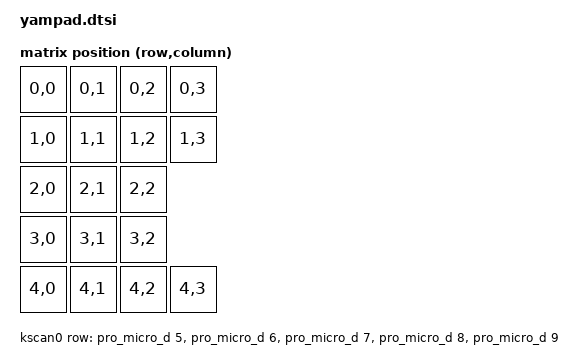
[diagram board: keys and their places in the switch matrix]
/*
 * Copyright (c) 2020 The ZMK Contributors
 *
 * SPDX-License-Identifier: MIT
 */

#include <dt-bindings/zmk/matrix_transform.h>

/ {
	chosen {
		zmk,kscan = &kscan0;
		zmk,matrix_transform = &default_transform;
	};

	default_transform: keymap_transform_0 {
		compatible = "zmk,matrix-transform";
		columns = <4>;
		rows = <5>;

		map = <
RC(0,0) RC(0,1) RC(0,2) RC(0,3)
RC(1,0) RC(1,1) RC(1,2) RC(1,3)
RC(2,0) RC(2,1) RC(2,2)
RC(3,0) RC(3,1) RC(3,2)
RC(4,0) RC(4,1) RC(4,2) RC(4,3)
		>;
	};

	kscan0: kscan {
		compatible = "zmk,kscan-gpio-matrix";
		label = "KSCAN";

		diode-direction = "col2row";
		row-gpios
			= <&pro_micro_d 5 (GPIO_ACTIVE_HIGH | GPIO_PULL_DOWN)>
			, <&pro_micro_d 6 (GPIO_ACTIVE_HIGH | GPIO_PULL_DOWN)>
			, <&pro_micro_d 7 (GPIO_ACTIVE_HIGH | GPIO_PULL_DOWN)>
			, <&pro_micro_d 8 (GPIO_ACTIVE_HIGH | GPIO_PULL_DOWN)>
			, <&pro_micro_d 9 (GPIO_ACTIVE_HIGH | GPIO_PULL_DOWN)>
			;

	// TODO: per-key RGB node(s)?
	};
};

&pro_micro_i2c {
	status = "okay";

	oled: ssd1306@3c {
		compatible = "solomon,ssd1306fb";
		reg = <0x3c>;
		label = "DISPLAY";
		width = <128>;
		height = <32>;
		segment-offset = <0>;
		page-offset = <0>;
		display-offset = <0>;
		multiplex-ratio = <31>;
		com-sequential;
		prechargep = <0x22>;
	};

};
